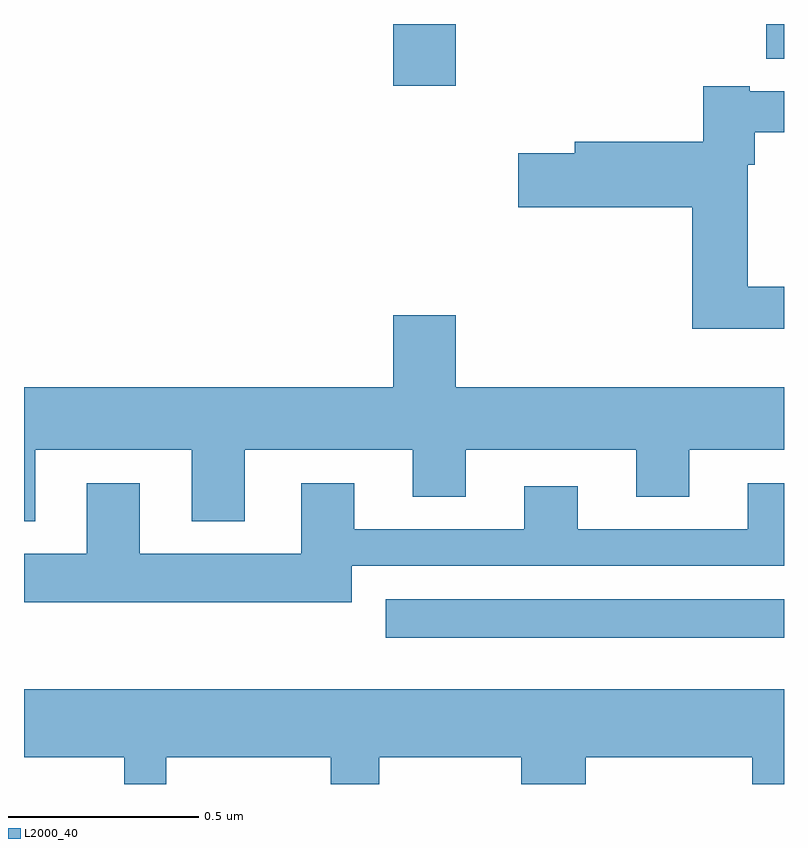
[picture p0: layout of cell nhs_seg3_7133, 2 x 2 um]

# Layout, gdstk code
import gdstk
lib = gdstk.Library(unit=1e-6, precision=1e-09)
def R(c, l, rs):  # rectangles x0, y0, x1, y1
    for r in rs: c.add(gdstk.rectangle(r[:2], r[2:], *l))
def P(c, l, *ps):  # polygons
    for p in ps: c.add(gdstk.Polygon(p, *l))
L2000_40 = (2000, 40)

nhs_seg3_7133 = lib.new_cell('nhs_seg3_7133')
R(nhs_seg3_7133, L2000_40, [(200.952,669.785,202,669.886), (200.972,671.238,201.136,671.4), (201.953,671.308,202,671.4)])
P(nhs_seg3_7133, L2000_40, [(202,670.708),(201.904,670.708),(201.904,671.03),(201.923,671.03),(201.923,671.115),(202,671.115),(202,671.223),(201.91,671.223),(201.91,671.236),(201.787,671.236),(201.787,671.09),(201.449,671.09),(201.449,671.06),(201.3,671.06),(201.3,670.918),(201.758,670.918),(201.758,670.598),(202,670.598)],
  [(200.029,670.28),(200.441,670.28),(200.441,670.091),(200.581,670.091),(200.581,670.28),(201.023,670.28),(201.023,670.156),(201.163,670.156),(201.163,670.28),(201.611,670.28),(201.611,670.156),(201.751,670.156),(201.751,670.28),(202,670.28),(202,670.444),(201.136,670.444),(201.136,670.633),(200.972,670.633),(200.972,670.444),(200,670.444),(200,670.091),(200.029,670.091)],
  [(200.863,669.975),(202,669.975),(202,670.192),(201.905,670.192),(201.905,670.071),(201.457,670.071),(201.457,670.183),(201.317,670.183),(201.317,670.071),(200.869,670.071),(200.869,670.192),(200.729,670.192),(200.729,670.006),(200.305,670.006),(200.305,670.192),(200.165,670.192),(200.165,670.006),(200,670.006),(200,669.878),(200.863,669.878)],
  [(200.374,669.47),(200.807,669.47),(200.807,669.4),(200.935,669.4),(200.935,669.47),(201.308,669.47),(201.308,669.4),(201.478,669.4),(201.478,669.47),(201.917,669.47),(201.917,669.4),(202,669.4),(202,669.649),(200,669.649),(200,669.47),(200.264,669.47),(200.264,669.4),(200.374,669.4)])

lib.write_gds('nhs_seg3_7133.gds')
